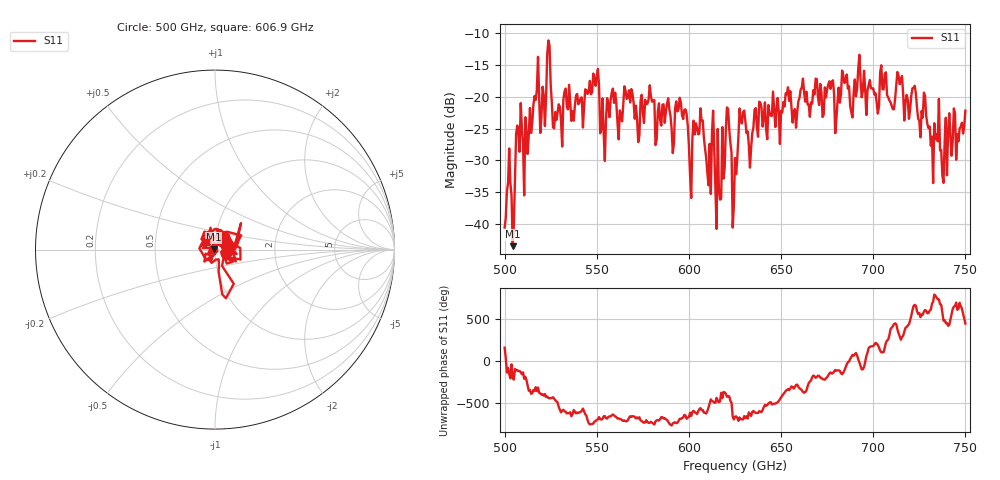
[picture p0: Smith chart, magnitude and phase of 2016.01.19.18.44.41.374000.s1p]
!Created with skrf (http://scikit-rf.org).
# GHz S RI R 50.0
!freq ReS11 ImS11
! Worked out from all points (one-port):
!   401 points, 500 GHz to 750 GHz, reference 50 ohm
!   lowest |S11| = -43.5 dB at 504.4 GHz (marker M1), VSWR 1.01, Z = 49.4 + j0.246 ohm
!   |S11| at or under -10 dB: start of sweep to end of sweep
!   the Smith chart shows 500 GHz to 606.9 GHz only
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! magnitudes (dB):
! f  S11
! 500 GHz  -40.6
! 502.5 GHz  -28.1
! 504.4 GHz  -43.5
! 507.5 GHz  -25.7
! 511.9 GHz  -25.4
! 517.5 GHz  -18.9
! 520.6 GHz  -18.4
! 523.8 GHz  -11.1
! 526.9 GHz  -25.0
! 531.2 GHz  -27.8
! 549.4 GHz  -18.3
! 553.1 GHz  -20.2
! 558.8 GHz  -18.7
! 562.5 GHz  -22.1
! 593.8 GHz  -22.3
! 600.6 GHz  -32.4
! 606.9 GHz  -23.8
! 616.2 GHz  -34.4
! 621.2 GHz  -21.9
! 625 GHz  -29.6
! 628.8 GHz  -24.2
! 633.1 GHz  -31.1
! 656.2 GHz  -24.0
! 687.5 GHz  -21.5
! 714.4 GHz  -18.0
! 718.8 GHz  -20.4
! 737.5 GHz  -32.4
! 750 GHz  -22.2
